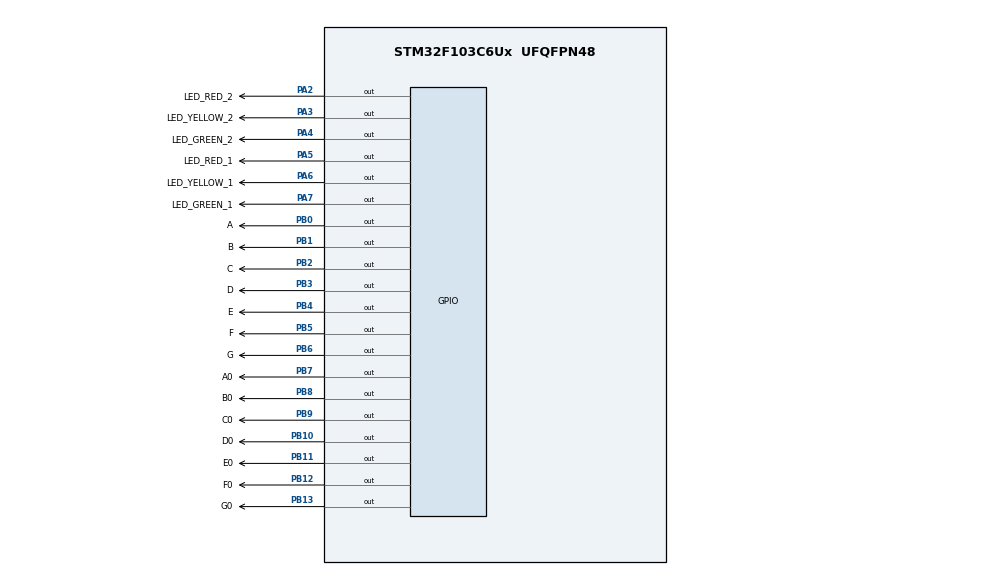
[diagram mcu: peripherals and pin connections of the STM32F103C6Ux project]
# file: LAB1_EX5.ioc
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Mcu.Family=STM32F1
Mcu.Name=STM32F103C6Ux
Mcu.Package=UFQFPN48
NVIC.PriorityGroup=NVIC_PRIORITYGROUP_4
PA2.GPIO_Label=LED_RED_2
PA2.Signal=GPIO_Output
PA3.GPIO_Label=LED_YELLOW_2
PA3.Signal=GPIO_Output
PA4.GPIO_Label=LED_GREEN_2
PA4.Signal=GPIO_Output
PA5.GPIO_Label=LED_RED_1
PA5.Signal=GPIO_Output
PA6.GPIO_Label=LED_YELLOW_1
PA6.Signal=GPIO_Output
PA7.GPIO_Label=LED_GREEN_1
PA7.Signal=GPIO_Output
PB0.GPIO_Label=A
PB0.Signal=GPIO_Output
PB1.GPIO_Label=B
PB1.Signal=GPIO_Output
PB10.GPIO_Label=D0
PB10.Signal=GPIO_Output
PB11.GPIO_Label=E0
PB11.Signal=GPIO_Output
PB12.GPIO_Label=F0
PB12.Signal=GPIO_Output
PB13.GPIO_Label=G0
PB13.Signal=GPIO_Output
PB2.GPIO_Label=C
PB2.Signal=GPIO_Output
PB3.GPIO_Label=D
PB3.Signal=GPIO_Output
PB4.GPIO_Label=E
PB4.Signal=GPIO_Output
PB5.GPIO_Label=F
PB5.Signal=GPIO_Output
PB6.GPIO_Label=G
PB6.Signal=GPIO_Output
PB7.GPIO_Label=A0
PB7.Signal=GPIO_Output
PB8.GPIO_Label=B0
PB8.Signal=GPIO_Output
PB9.GPIO_Label=C0
PB9.Signal=GPIO_Output
ProjectManager.HeapSize=0x200
ProjectManager.StackSize=0x400
ProjectManager.TargetToolchain=STM32CubeIDE
RCC.APB1Freq_Value=8000000
RCC.APB2Freq_Value=8000000
board=custom

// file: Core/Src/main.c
/* USER CODE BEGIN Header */
/**
  ******************************************************************************
  * @file           : main.c
  * @brief          : Main program body
  ******************************************************************************
  * @attention
  *
  * Copyright (c) 2022 STMicroelectronics.
  * All rights reserved.
  *
  * This software is licensed under terms that can be found in the LICENSE file
  * in the root directory of this software component.
  * If no LICENSE file comes with this software, it is provided AS-IS.
  *
  ******************************************************************************
  */
/* USER CODE END Header */
#include "main.h"

void SystemClock_Config(void);
static void MX_GPIO_Init(void);
/* USER CODE BEGIN PFP */
void display7SEG(int num);
void display7SEG0(int num);
/* USER CODE END PFP */

int main(void)
{

  /* MCU Configuration--------------------------------------------------------*/

  /* Reset of all peripherals, Initializes the Flash interface and the Systick. */
  HAL_Init();

  /* Configure the system clock */
  SystemClock_Config();

  /* Initialize all configured peripherals */
  MX_GPIO_Init();

  /* Infinite loop */
  /* USER CODE BEGIN WHILE */
  int count = 0;
  while (1)
  {
	  count++;
	  	  	  if(count <= 5){
	  	  		  display7SEG(5-count);
	  	  		  HAL_GPIO_WritePin ( LED_RED_1_GPIO_Port , LED_RED_1_Pin , GPIO_PIN_RESET ) ;
				  HAL_GPIO_WritePin ( LED_YELLOW_1_GPIO_Port , LED_YELLOW_1_Pin , GPIO_PIN_SET ) ;
				  HAL_GPIO_WritePin ( LED_GREEN_1_GPIO_Port , LED_GREEN_1_Pin , GPIO_PIN_SET ) ;
				  if(count <= 2){
					  display7SEG0(2-count);
					  HAL_GPIO_WritePin ( LED_RED_2_GPIO_Port , LED_RED_2_Pin , GPIO_PIN_SET ) ;
					  HAL_GPIO_WritePin ( LED_YELLOW_2_GPIO_Port , LED_YELLOW_2_Pin , GPIO_PIN_SET ) ;
					  HAL_GPIO_WritePin ( LED_GREEN_2_GPIO_Port , LED_GREEN_2_Pin , GPIO_PIN_RESET ) ;
				  }
	  	  		  else{
	  	  			  display7SEG0(5-count);
	  	  			  HAL_GPIO_WritePin ( LED_RED_2_GPIO_Port , LED_RED_2_Pin , GPIO_PIN_SET ) ;
	  	  			  HAL_GPIO_WritePin ( LED_YELLOW_2_GPIO_Port , LED_YELLOW_2_Pin , GPIO_PIN_RESET ) ;
	  	  			  HAL_GPIO_WritePin ( LED_GREEN_2_GPIO_Port , LED_GREEN_2_Pin , GPIO_PIN_SET ) ;
	  	  		  }
	  	  	  }
	  	  	  else if(count <= 7){
	  	  		  display7SEG(7-count);
	  	  		  HAL_GPIO_WritePin ( LED_RED_1_GPIO_Port , LED_RED_1_Pin , GPIO_PIN_SET ) ;
	  			  HAL_GPIO_WritePin ( LED_YELLOW_1_GPIO_Port , LED_YELLOW_1_Pin , GPIO_PIN_SET ) ;
	  			  HAL_GPIO_WritePin ( LED_GREEN_1_GPIO_Port , LED_GREEN_1_Pin , GPIO_PIN_RESET ) ;

	  	  		  display7SEG0(10-count);
				  HAL_GPIO_WritePin ( LED_RED_2_GPIO_Port , LED_RED_2_Pin , GPIO_PIN_RESET ) ;
				  HAL_GPIO_WritePin ( LED_YELLOW_2_GPIO_Port , LED_YELLOW_2_Pin , GPIO_PIN_SET ) ;
				  HAL_GPIO_WritePin ( LED_GREEN_2_GPIO_Port , LED_GREEN_2_Pin , GPIO_PIN_SET ) ;
	  	  	  }
	  	  	  else if(count <= 10){
	  	  		  display7SEG(10-count);
	  	  		  HAL_GPIO_WritePin ( LED_RED_1_GPIO_Port , LED_RED_1_Pin , GPIO_PIN_SET ) ;
	  	  		  HAL_GPIO_WritePin ( LED_YELLOW_1_GPIO_Port , LED_YELLOW_1_Pin , GPIO_PIN_RESET ) ;
	  	  		  HAL_GPIO_WritePin ( LED_GREEN_1_GPIO_Port , LED_GREEN_1_Pin , GPIO_PIN_SET ) ;
	  	  		  display7SEG0(10-count);
	  	  	  }
	  	  	  if(count >= 10) count = 0;

	  	  	  HAL_Delay (1000);
    /* USER CODE END WHILE */

  }
}

void SystemClock_Config(void)
{
  RCC_OscInitTypeDef RCC_OscInitStruct = {0};
  RCC_ClkInitTypeDef RCC_ClkInitStruct = {0};

  /** Initializes the RCC Oscillators according to the specified parameters
  * in the RCC_OscInitTypeDef structure.
  */
  RCC_OscInitStruct.OscillatorType = RCC_OSCILLATORTYPE_HSI;
  RCC_OscInitStruct.HSIState = RCC_HSI_ON;
  RCC_OscInitStruct.HSICalibrationValue = RCC_HSICALIBRATION_DEFAULT;
  RCC_OscInitStruct.PLL.PLLState = RCC_PLL_NONE;
  if (HAL_RCC_OscConfig(&RCC_OscInitStruct) != HAL_OK)
  {
    Error_Handler();
  }

  /** Initializes the CPU, AHB and APB buses clocks
  */
  RCC_ClkInitStruct.ClockType = RCC_CLOCKTYPE_HCLK|RCC_CLOCKTYPE_SYSCLK
                              |RCC_CLOCKTYPE_PCLK1|RCC_CLOCKTYPE_PCLK2;
  RCC_ClkInitStruct.SYSCLKSource = RCC_SYSCLKSOURCE_HSI;
  RCC_ClkInitStruct.AHBCLKDivider = RCC_SYSCLK_DIV1;
  RCC_ClkInitStruct.APB1CLKDivider = RCC_HCLK_DIV1;
  RCC_ClkInitStruct.APB2CLKDivider = RCC_HCLK_DIV1;

  if (HAL_RCC_ClockConfig(&RCC_ClkInitStruct, FLASH_LATENCY_0) != HAL_OK)
  {
    Error_Handler();
  }
}

static void MX_GPIO_Init(void)
{
  GPIO_InitTypeDef GPIO_InitStruct = {0};

  /* GPIO Ports Clock Enable */
  __HAL_RCC_GPIOA_CLK_ENABLE();
  __HAL_RCC_GPIOB_CLK_ENABLE();

  /*Configure GPIO pin Output Level */
  HAL_GPIO_WritePin(GPIOA, LED_RED_2_Pin|LED_YELLOW_2_Pin|LED_GREEN_2_Pin|LED_RED_1_Pin
                          |LED_YELLOW_1_Pin|LED_GREEN_1_Pin, GPIO_PIN_RESET);

  /*Configure GPIO pin Output Level */
  HAL_GPIO_WritePin(GPIOB, A_Pin|B_Pin|C_Pin|D0_Pin
                          |E0_Pin|F0_Pin|G0_Pin|D_Pin
                          |E_Pin|F_Pin|G_Pin|A0_Pin
                          |B0_Pin|C0_Pin, GPIO_PIN_RESET);

  /*Configure GPIO pins : LED_RED_2_Pin LED_YELLOW_2_Pin LED_GREEN_2_Pin LED_RED_1_Pin
                           LED_YELLOW_1_Pin LED_GREEN_1_Pin */
  GPIO_InitStruct.Pin = LED_RED_2_Pin|LED_YELLOW_2_Pin|LED_GREEN_2_Pin|LED_RED_1_Pin
                          |LED_YELLOW_1_Pin|LED_GREEN_1_Pin;
  GPIO_InitStruct.Mode = GPIO_MODE_OUTPUT_PP;
  GPIO_InitStruct.Pull = GPIO_NOPULL;
  GPIO_InitStruct.Speed = GPIO_SPEED_FREQ_LOW;
  HAL_GPIO_Init(GPIOA, &GPIO_InitStruct);

  /*Configure GPIO pins : A_Pin B_Pin C_Pin D0_Pin
                           E0_Pin F0_Pin G0_Pin D_Pin
                           E_Pin F_Pin G_Pin A0_Pin
                           B0_Pin C0_Pin */
  GPIO_InitStruct.Pin = A_Pin|B_Pin|C_Pin|D0_Pin
                          |E0_Pin|F0_Pin|G0_Pin|D_Pin
                          |E_Pin|F_Pin|G_Pin|A0_Pin
                          |B0_Pin|C0_Pin;
  GPIO_InitStruct.Mode = GPIO_MODE_OUTPUT_PP;
  GPIO_InitStruct.Pull = GPIO_NOPULL;
  GPIO_InitStruct.Speed = GPIO_SPEED_FREQ_LOW;
  HAL_GPIO_Init(GPIOB, &GPIO_InitStruct);

}

/* USER CODE BEGIN 4 */
void display7SEG(int num){
	switch(num){
	case 0:
		HAL_GPIO_WritePin ( A_GPIO_Port , A_Pin , GPIO_PIN_RESET ) ;
		HAL_GPIO_WritePin ( B_GPIO_Port , B_Pin , GPIO_PIN_RESET ) ;
		HAL_GPIO_WritePin ( C_GPIO_Port , C_Pin , GPIO_PIN_RESET ) ;
		HAL_GPIO_WritePin ( D_GPIO_Port , D_Pin , GPIO_PIN_RESET ) ;
		HAL_GPIO_WritePin ( E_GPIO_Port , E_Pin , GPIO_PIN_RESET ) ;
		HAL_GPIO_WritePin ( F_GPIO_Port , F_Pin , GPIO_PIN_RESET ) ;
		HAL_GPIO_WritePin ( G_GPIO_Port , G_Pin , GPIO_PIN_SET ) ;
		break;
	case 1:
		HAL_GPIO_WritePin ( A_GPIO_Port , A_Pin , GPIO_PIN_SET ) ;
		HAL_GPIO_WritePin ( B_GPIO_Port , B_Pin , GPIO_PIN_RESET ) ;
		HAL_GPIO_WritePin ( C_GPIO_Port , C_Pin , GPIO_PIN_RESET ) ;
		HAL_GPIO_WritePin ( D_GPIO_Port , D_Pin , GPIO_PIN_SET ) ;
		HAL_GPIO_WritePin ( E_GPIO_Port , E_Pin , GPIO_PIN_SET ) ;
		HAL_GPIO_WritePin ( F_GPIO_Port , F_Pin , GPIO_PIN_SET ) ;
		HAL_GPIO_WritePin ( G_GPIO_Port , G_Pin , GPIO_PIN_SET ) ;
		break;
	case 2:
		HAL_GPIO_WritePin ( A_GPIO_Port , A_Pin , GPIO_PIN_RESET ) ;
		HAL_GPIO_WritePin ( B_GPIO_Port , B_Pin , GPIO_PIN_RESET ) ;
		HAL_GPIO_WritePin ( C_GPIO_Port , C_Pin , GPIO_PIN_SET ) ;
		HAL_GPIO_WritePin ( D_GPIO_Port , D_Pin , GPIO_PIN_RESET ) ;
		HAL_GPIO_WritePin ( E_GPIO_Port , E_Pin , GPIO_PIN_RESET ) ;
		HAL_GPIO_WritePin ( F_GPIO_Port , F_Pin , GPIO_PIN_SET ) ;
		HAL_GPIO_WritePin ( G_GPIO_Port , G_Pin , GPIO_PIN_RESET ) ;
		break;
	case 3:
		HAL_GPIO_WritePin ( A_GPIO_Port , A_Pin , GPIO_PIN_RESET ) ;
		HAL_GPIO_WritePin ( B_GPIO_Port , B_Pin , GPIO_PIN_RESET ) ;
		HAL_GPIO_WritePin ( C_GPIO_Port , C_Pin , GPIO_PIN_RESET ) ;
		HAL_GPIO_WritePin ( D_GPIO_Port , D_Pin , GPIO_PIN_RESET ) ;
		HAL_GPIO_WritePin ( E_GPIO_Port , E_Pin , GPIO_PIN_SET ) ;
		HAL_GPIO_WritePin ( F_GPIO_Port , F_Pin , GPIO_PIN_SET ) ;
		HAL_GPIO_WritePin ( G_GPIO_Port , G_Pin , GPIO_PIN_RESET ) ;
		break;
	case 4:
		HAL_GPIO_WritePin ( A_GPIO_Port , A_Pin , GPIO_PIN_SET ) ;
		HAL_GPIO_WritePin ( B_GPIO_Port , B_Pin , GPIO_PIN_RESET ) ;
		HAL_GPIO_WritePin ( C_GPIO_Port , C_Pin , GPIO_PIN_RESET ) ;
		HAL_GPIO_WritePin ( D_GPIO_Port , D_Pin , GPIO_PIN_SET ) ;
		HAL_GPIO_WritePin ( E_GPIO_Port , E_Pin , GPIO_PIN_SET ) ;
		HAL_GPIO_WritePin ( F_GPIO_Port , F_Pin , GPIO_PIN_RESET ) ;
		HAL_GPIO_WritePin ( G_GPIO_Port , G_Pin , GPIO_PIN_RESET ) ;
		break;
	case 5:
		HAL_GPIO_WritePin ( A_GPIO_Port , A_Pin , GPIO_PIN_RESET ) ;
		HAL_GPIO_WritePin ( B_GPIO_Port , B_Pin , GPIO_PIN_SET ) ;
		HAL_GPIO_WritePin ( C_GPIO_Port , C_Pin , GPIO_PIN_RESET ) ;
		HAL_GPIO_WritePin ( D_GPIO_Port , D_Pin , GPIO_PIN_RESET ) ;
		HAL_GPIO_WritePin ( E_GPIO_Port , E_Pin , GPIO_PIN_SET ) ;
		HAL_GPIO_WritePin ( F_GPIO_Port , F_Pin , GPIO_PIN_RESET ) ;
		HAL_GPIO_WritePin ( G_GPIO_Port , G_Pin , GPIO_PIN_RESET ) ;
		break;
	case 6:
		HAL_GPIO_WritePin ( A_GPIO_Port , A_Pin , GPIO_PIN_RESET ) ;
		HAL_GPIO_WritePin ( B_GPIO_Port , B_Pin , GPIO_PIN_SET ) ;
		HAL_GPIO_WritePin ( C_GPIO_Port , C_Pin , GPIO_PIN_RESET ) ;
		HAL_GPIO_WritePin ( D_GPIO_Port , D_Pin , GPIO_PIN_RESET ) ;
		HAL_GPIO_WritePin ( E_GPIO_Port , E_Pin , GPIO_PIN_RESET ) ;
		HAL_GPIO_WritePin ( F_GPIO_Port , F_Pin , GPIO_PIN_RESET ) ;
		HAL_GPIO_WritePin ( G_GPIO_Port , G_Pin , GPIO_PIN_RESET ) ;
		break;
	case 7:
		HAL_GPIO_WritePin ( A_GPIO_Port , A_Pin , GPIO_PIN_RESET ) ;
		HAL_GPIO_WritePin ( B_GPIO_Port , B_Pin , GPIO_PIN_RESET ) ;
		HAL_GPIO_WritePin ( C_GPIO_Port , C_Pin , GPIO_PIN_RESET ) ;
		HAL_GPIO_WritePin ( D_GPIO_Port , D_Pin , GPIO_PIN_SET ) ;
		HAL_GPIO_WritePin ( E_GPIO_Port , E_Pin , GPIO_PIN_SET ) ;
		HAL_GPIO_WritePin ( F_GPIO_Port , F_Pin , GPIO_PIN_SET ) ;
		HAL_GPIO_WritePin ( G_GPIO_Port , G_Pin , GPIO_PIN_SET ) ;
		break;
	case 8:
		HAL_GPIO_WritePin ( A_GPIO_Port , A_Pin , GPIO_PIN_RESET ) ;
		HAL_GPIO_WritePin ( B_GPIO_Port , B_Pin , GPIO_PIN_RESET ) ;
		HAL_GPIO_WritePin ( C_GPIO_Port , C_Pin , GPIO_PIN_RESET ) ;
		HAL_GPIO_WritePin ( D_GPIO_Port , D_Pin , GPIO_PIN_RESET ) ;
		HAL_GPIO_WritePin ( E_GPIO_Port , E_Pin , GPIO_PIN_RESET ) ;
		HAL_GPIO_WritePin ( F_GPIO_Port , F_Pin , GPIO_PIN_RESET ) ;
		HAL_GPIO_WritePin ( G_GPIO_Port , G_Pin , GPIO_PIN_RESET ) ;
		break;
	case 9:
		HAL_GPIO_WritePin ( A_GPIO_Port , A_Pin , GPIO_PIN_RESET ) ;
		HAL_GPIO_WritePin ( B_GPIO_Port , B_Pin , GPIO_PIN_RESET ) ;
		HAL_GPIO_WritePin ( C_GPIO_Port , C_Pin , GPIO_PIN_RESET ) ;
		HAL_GPIO_WritePin ( D_GPIO_Port , D_Pin , GPIO_PIN_RESET ) ;
		HAL_GPIO_WritePin ( E_GPIO_Port , E_Pin , GPIO_PIN_SET ) ;
		HAL_GPIO_WritePin ( F_GPIO_Port , F_Pin , GPIO_PIN_RESET ) ;
		HAL_GPIO_WritePin ( G_GPIO_Port , G_Pin , GPIO_PIN_RESET ) ;
		break;
	default:
		break;
	}
}
void display7SEG0(int num){
	switch(num){
	case 0:
		HAL_GPIO_WritePin ( A0_GPIO_Port , A0_Pin , GPIO_PIN_RESET ) ;
		HAL_GPIO_WritePin ( B0_GPIO_Port , B0_Pin , GPIO_PIN_RESET ) ;
		HAL_GPIO_WritePin ( C0_GPIO_Port , C0_Pin , GPIO_PIN_RESET ) ;
		HAL_GPIO_WritePin ( D0_GPIO_Port , D0_Pin , GPIO_PIN_RESET ) ;
		HAL_GPIO_WritePin ( E0_GPIO_Port , E0_Pin , GPIO_PIN_RESET ) ;
		HAL_GPIO_WritePin ( F0_GPIO_Port , F0_Pin , GPIO_PIN_RESET ) ;
		HAL_GPIO_WritePin ( G0_GPIO_Port , G0_Pin , GPIO_PIN_SET ) ;
		break;
	case 1:
		HAL_GPIO_WritePin ( A0_GPIO_Port , A0_Pin , GPIO_PIN_SET ) ;
		HAL_GPIO_WritePin ( B0_GPIO_Port , B0_Pin , GPIO_PIN_RESET ) ;
		HAL_GPIO_WritePin ( C0_GPIO_Port , C0_Pin , GPIO_PIN_RESET ) ;
		HAL_GPIO_WritePin ( D0_GPIO_Port , D0_Pin , GPIO_PIN_SET ) ;
		HAL_GPIO_WritePin ( E0_GPIO_Port , E0_Pin , GPIO_PIN_SET ) ;
		HAL_GPIO_WritePin ( F0_GPIO_Port , F0_Pin , GPIO_PIN_SET ) ;
		HAL_GPIO_WritePin ( G0_GPIO_Port , G0_Pin , GPIO_PIN_SET ) ;
		break;
	case 2:
		HAL_GPIO_WritePin ( A0_GPIO_Port , A0_Pin , GPIO_PIN_RESET ) ;
		HAL_GPIO_WritePin ( B0_GPIO_Port , B0_Pin , GPIO_PIN_RESET ) ;
		HAL_GPIO_WritePin ( C0_GPIO_Port , C0_Pin , GPIO_PIN_SET ) ;
		HAL_GPIO_WritePin ( D0_GPIO_Port , D0_Pin , GPIO_PIN_RESET ) ;
		HAL_GPIO_WritePin ( E0_GPIO_Port , E0_Pin , GPIO_PIN_RESET ) ;
		HAL_GPIO_WritePin ( F0_GPIO_Port , F0_Pin , GPIO_PIN_SET ) ;
		HAL_GPIO_WritePin ( G0_GPIO_Port , G0_Pin , GPIO_PIN_RESET ) ;
		break;
	case 3:
		HAL_GPIO_WritePin ( A0_GPIO_Port , A0_Pin , GPIO_PIN_RESET ) ;
		HAL_GPIO_WritePin ( B0_GPIO_Port , B0_Pin , GPIO_PIN_RESET ) ;
		HAL_GPIO_WritePin ( C0_GPIO_Port , C0_Pin , GPIO_PIN_RESET ) ;
		HAL_GPIO_WritePin ( D0_GPIO_Port , D0_Pin , GPIO_PIN_RESET ) ;
		HAL_GPIO_WritePin ( E0_GPIO_Port , E0_Pin , GPIO_PIN_SET ) ;
		HAL_GPIO_WritePin ( F0_GPIO_Port , F0_Pin , GPIO_PIN_SET ) ;
		HAL_GPIO_WritePin ( G0_GPIO_Port , G0_Pin , GPIO_PIN_RESET ) ;
		break;
	case 4:
		HAL_GPIO_WritePin ( A0_GPIO_Port , A0_Pin , GPIO_PIN_SET ) ;
		HAL_GPIO_WritePin ( B0_GPIO_Port , B0_Pin , GPIO_PIN_RESET ) ;
		HAL_GPIO_WritePin ( C0_GPIO_Port , C0_Pin , GPIO_PIN_RESET ) ;
		HAL_GPIO_WritePin ( D0_GPIO_Port , D0_Pin , GPIO_PIN_SET ) ;
		HAL_GPIO_WritePin ( E0_GPIO_Port , E0_Pin , GPIO_PIN_SET ) ;
		HAL_GPIO_WritePin ( F0_GPIO_Port , F0_Pin , GPIO_PIN_RESET ) ;
		HAL_GPIO_WritePin ( G0_GPIO_Port , G0_Pin , GPIO_PIN_RESET ) ;
		break;
	case 5:
		HAL_GPIO_WritePin ( A0_GPIO_Port , A0_Pin , GPIO_PIN_RESET ) ;
		HAL_GPIO_WritePin ( B0_GPIO_Port , B0_Pin , GPIO_PIN_SET ) ;
		HAL_GPIO_WritePin ( C0_GPIO_Port , C0_Pin , GPIO_PIN_RESET ) ;
		HAL_GPIO_WritePin ( D0_GPIO_Port , D0_Pin , GPIO_PIN_RESET ) ;
		HAL_GPIO_WritePin ( E0_GPIO_Port , E0_Pin , GPIO_PIN_SET ) ;
		HAL_GPIO_WritePin ( F0_GPIO_Port , F0_Pin , GPIO_PIN_RESET ) ;
		HAL_GPIO_WritePin ( G0_GPIO_Port , G0_Pin , GPIO_PIN_RESET ) ;
		break;
	case 6:
		HAL_GPIO_WritePin ( A0_GPIO_Port , A0_Pin , GPIO_PIN_RESET ) ;
		HAL_GPIO_WritePin ( B0_GPIO_Port , B0_Pin , GPIO_PIN_SET ) ;
		HAL_GPIO_WritePin ( C0_GPIO_Port , C0_Pin , GPIO_PIN_RESET ) ;
		HAL_GPIO_WritePin ( D0_GPIO_Port , D0_Pin , GPIO_PIN_RESET ) ;
		HAL_GPIO_WritePin ( E0_GPIO_Port , E0_Pin , GPIO_PIN_RESET ) ;
		HAL_GPIO_WritePin ( F0_GPIO_Port , F0_Pin , GPIO_PIN_RESET ) ;
		HAL_GPIO_WritePin ( G0_GPIO_Port , G0_Pin , GPIO_PIN_RESET ) ;
		break;
	case 7:
		HAL_GPIO_WritePin ( A0_GPIO_Port , A0_Pin , GPIO_PIN_RESET ) ;
		HAL_GPIO_WritePin ( B0_GPIO_Port , B0_Pin , GPIO_PIN_RESET ) ;
		HAL_GPIO_WritePin ( C0_GPIO_Port , C0_Pin , GPIO_PIN_RESET ) ;
		HAL_GPIO_WritePin ( D0_GPIO_Port , D0_Pin , GPIO_PIN_SET ) ;
		HAL_GPIO_WritePin ( E0_GPIO_Port , E0_Pin , GPIO_PIN_SET ) ;
		HAL_GPIO_WritePin ( F0_GPIO_Port , F0_Pin , GPIO_PIN_SET ) ;
		HAL_GPIO_WritePin ( G0_GPIO_Port , G0_Pin , GPIO_PIN_SET ) ;
		break;
	case 8:
		HAL_GPIO_WritePin ( A0_GPIO_Port , A0_Pin , GPIO_PIN_RESET ) ;
		HAL_GPIO_WritePin ( B0_GPIO_Port , B0_Pin , GPIO_PIN_RESET ) ;
		HAL_GPIO_WritePin ( C0_GPIO_Port , C0_Pin , GPIO_PIN_RESET ) ;
		HAL_GPIO_WritePin ( D0_GPIO_Port , D0_Pin , GPIO_PIN_RESET ) ;
		HAL_GPIO_WritePin ( E0_GPIO_Port , E0_Pin , GPIO_PIN_RESET ) ;
		HAL_GPIO_WritePin ( F0_GPIO_Port , F0_Pin , GPIO_PIN_RESET ) ;
		HAL_GPIO_WritePin ( G0_GPIO_Port , G0_Pin , GPIO_PIN_RESET ) ;
		break;
	case 9:
		HAL_GPIO_WritePin ( A0_GPIO_Port , A0_Pin , GPIO_PIN_RESET ) ;
		HAL_GPIO_WritePin ( B0_GPIO_Port , B0_Pin , GPIO_PIN_RESET ) ;
		HAL_GPIO_WritePin ( C0_GPIO_Port , C0_Pin , GPIO_PIN_RESET ) ;
		HAL_GPIO_WritePin ( D0_GPIO_Port , D0_Pin , GPIO_PIN_RESET ) ;
		HAL_GPIO_WritePin ( E0_GPIO_Port , E0_Pin , GPIO_PIN_SET ) ;
		HAL_GPIO_WritePin ( F0_GPIO_Port , F0_Pin , GPIO_PIN_RESET ) ;
		HAL_GPIO_WritePin ( G0_GPIO_Port , G0_Pin , GPIO_PIN_RESET ) ;
		break;
	default:
		break;
	}
}
/* USER CODE END 4 */

void Error_Handler(void)
{
  __disable_irq();
  while (1)
  {
  }
}
